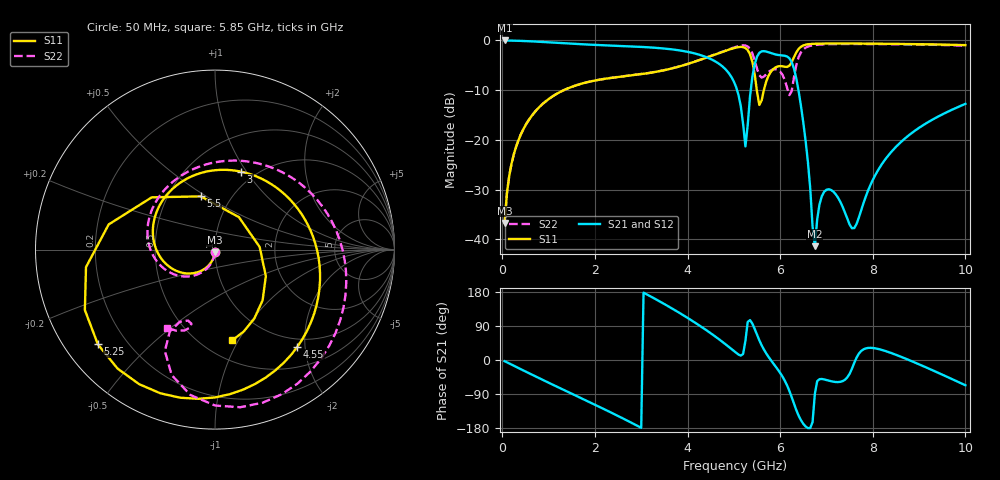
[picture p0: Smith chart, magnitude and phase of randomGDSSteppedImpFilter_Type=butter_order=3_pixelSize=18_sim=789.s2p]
! freq	dB(S11)	phase(S11)	dB(S12)	phase(S12)
!  dB(S21)	phase(S21)	dB(S22)	phase(S22)
!S-par simulation data
#  GHz  S  DB  R 50
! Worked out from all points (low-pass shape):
!   200 points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, 50 MHz to 10 GHz, reference 50 ohm
!   highest |S21| = -0.01 dB at 50 MHz (marker M1); lowest = -41.4 dB at 6.75 GHz (marker M2)
!   |S21| within 3 dB of the highest: start of sweep to 4.299 GHz; 5.518 GHz to 6.028 GHz (510.9 MHz wide, 8.85 % of centre)
!   lowest |S11| = -36.7 dB at 50 MHz (marker M3), VSWR 1.03, Z = 49.9 - j1.46 ohm
!   |S11| at or under -10 dB: start of sweep to 1.328 GHz; 5.496 GHz to 5.648 GHz (151.7 MHz wide, 2.72 % of centre)
!   |S22| runs from -36.7 to -0.7 dB; largest |S21 - S12| = 0
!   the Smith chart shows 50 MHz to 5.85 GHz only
!   S11 on the Smith chart (normalised r, x): 50 MHz: 1.00, -0.03; 3 GHz: 0.86, +0.95; 4.55 GHz: 0.85, -1.85; 5.25 GHz: 0.10, -0.35; 5.5 GHz: 0.72, +0.47; 5.85 GHz: 0.68, -0.94
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0.05  -36.72 -93.0  -0.01 -3.1  -0.01 -3.1  -36.71 -92.6
0.5  -17.08 -122.8  -0.13 -30.3  -0.13 -30.3  -17.08 -118.8
1.75  -8.60 157.4  -0.78 -103.5  -0.78 -103.5  -8.59 174.3
3  -6.79 71.4  -1.30 -179.0  -1.30 -179.0  -6.76 109.4
3.4  -6.18 41.5  -1.55 154.5  -1.55 154.5  -6.15 86.2
4.55  -2.98 -49.8  -3.97 66.3  -3.97 66.3  -2.96 -0.2
5.05  -1.44 -103.2  -9.40 18.7  -9.40 18.7  -1.28 -51.9
5.25  -1.52 -141.0  -21.31 50.7  -21.31 50.7  -1.02 -80.9
5.35  -2.79 -172.3  -11.18 105.3  -11.18 105.3  -1.71 -99.6
5.5  -10.26 105.0  -3.28 66.7  -3.28 66.7  -5.67 -118.9
5.65  -9.91 -27.6  -2.15 27.4  -2.15 27.4  -7.26 -107.6
5.85  -5.76 -79.4  -2.69 -8.8  -2.69 -8.8  -5.82 -121.5
6.1  -5.29 -103.6  -3.09 -54.6  -3.09 -54.6  -7.96 179.6
6.25  -4.37 -101.5  -4.36 -98.4  -4.36 -98.4  -10.16 57.5
6.4  -1.69 -113.2  -10.27 -147.1  -10.27 -147.1  -3.33 -40.1
6.7  -0.69 -144.3  -37.44 -163.8  -37.44 -163.8  -0.99 -107.6
6.75  -0.66 -148.2  -41.37 -88.7  -41.37 -88.7  -0.92 -114.0
7  -0.62 -165.8  -30.03 -52.8  -30.03 -52.8  -0.77 -139.5
7.45  -0.62 166.9  -35.84 -45.8  -35.84 -45.8  -0.71 -174.0
8.35  -0.68 117.2  -22.96 20.6  -22.96 20.6  -0.75 128.2
9.15  -0.78 74.5  -16.68 -19.4  -16.68 -19.4  -0.84 78.4
10  -0.95 31.2  -12.75 -66.7  -12.75 -66.7  -1.08 23.6
